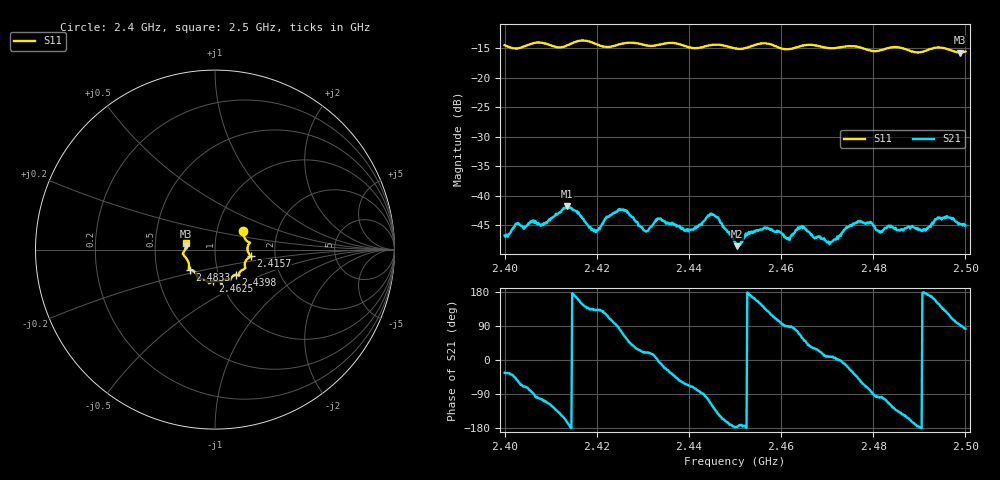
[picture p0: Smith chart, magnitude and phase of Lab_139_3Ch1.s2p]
# Hz S RI R 50
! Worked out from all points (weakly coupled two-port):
!   601 points, 2.4 GHz to 2.5 GHz, reference 50 ohm
!   highest |S21| = -41.81 dB at 2.4135 GHz (marker M1); lowest = -48.5 dB at 2.4505 GHz (marker M2)
!   lowest |S11| = -15.7 dB at 2.4988 GHz (marker M3), VSWR 1.39, Z = 36 + j1.38 ohm
!   |S11| at or under -10 dB: start of sweep to end of sweep
!   S12 and S22 are empty: the file has one direction only
!   S11 on the Smith chart (normalised r, x): 2.4 GHz: 1.33, +0.29; 2.4157 GHz: 1.49, -0.11; 2.4398 GHz: 1.21, -0.35; 2.4625 GHz: 0.92, -0.34; 2.4833 GHz: 0.74, -0.17; 2.5 GHz: 0.72, +0.06
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2.4e9  0.1563 0.1056  0.00383 -0.00256  0 0  0 0
2.4135e9  0.1862 -0.0186  -0.00778 -0.00231  0 0  0 0
2.415667e9  0.1997 -0.0368  -0.00714 0.00207  0 0  0 0
2.416667e9  0.2027 -0.0402  -0.00575 0.0034  0 0  0 0
2.419833e9  0.1876 -0.0456  -0.00329 0.00367  0 0  0 0
2.425167e9  0.1671 -0.0962  0.00164 0.0075  0 0  0 0
2.430667e9  0.1489 -0.1155  0.00468 0.00167  0 0  0 0
2.433333e9  0.1342 -0.1342  0.00642 -0.000292  0 0  0 0
2.439833e9  0.1164 -0.1396  0.00205 -0.00456  0 0  0 0
2.445167e9  0.0852 -0.17  -0.0038 -0.00584  0 0  0 0
2.45e9  0.0642 -0.1654  -0.00398 -0.000131  0 0  0 0
2.4505e9  0.0589 -0.1659  -0.00374 -0.00021  0 0  0 0
2.456667e9  0.0385 -0.1917  -0.00368 0.00393  0 0  0 0
2.4625e9  -0.0105 -0.1768  0.000297 0.00462  0 0  0 0
2.464667e9  -0.029 -0.185  0.00283 0.00449  0 0  0 0
2.466667e9  -0.0334 -0.1869  0.00391 0.0026  0 0  0 0
2.4705e9  -0.053 -0.1701  0.00384 0.000615  0 0  0 0
2.476667e9  -0.0953 -0.1559  0.00411 -0.0045  0 0  0 0
2.483333e9  -0.1397 -0.1114  -0.00218 -0.00514  0 0  0 0
2.496167e9  -0.174 -0.0134  -0.00361 0.00552  0 0  0 0
2.498833e9  -0.1624 0.0186  -0.000236 0.00575  0 0  0 0
2.5e9  -0.1625 0.0374  0.000717 0.00556  0 0  0 0
